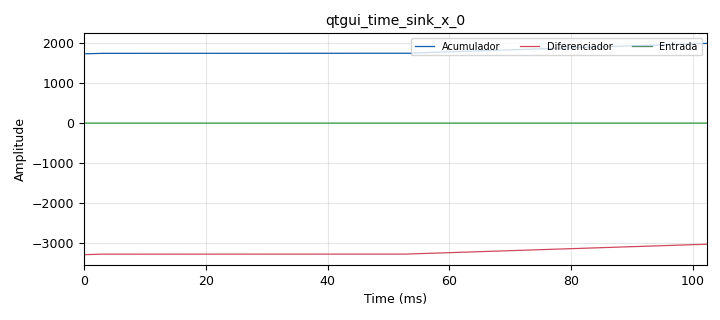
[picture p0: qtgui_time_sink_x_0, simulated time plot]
options:
  parameters:
    generate_options: qt_gui
    id: PRUEBA_I
    output_language: python
    title: Not titled yet
  states: {}

blocks:
- name: samp_rate
  id: variable
  parameters:
    value: '10000'
  states: {}
- name: analog_sig_source_x_0
  id: analog_sig_source_x
  parameters:
    amp: '0.5'
    freq: '10'
    offset: '0'
    phase: '0'
    samp_rate: samp_rate
    type: float
    waveform: analog.GR_SQR_WAVE
  states: {}
- name: epy_block_0
  id: epy_block
  parameters:
    _source_code: |
      """
      Embedded Python Blocks:

      Each time this file is saved, GRC will instantiate the first class it finds
      to get ports and parameters of your block. The arguments to __init__  will
      be the parameters. All of them are required to have default values!
      """

      import numpy as np
      from gnuradio import gr

      class blk (gr. sync_block ):
      	def __init__ ( self ) : # only default arguments here
      		gr. sync_block . __init__ (
      			self ,
      			name ="e_Acum ", # will show up in GRC
      			in_sig =[ np. float32 ],
      			out_sig =[ np. float32 ]
      		)
      	def work (self , input_items , output_items ):
      		x = input_items [0] # Senial de entrada .
      		y0 = output_items [0] # Senial acumulada
      		y0 [:] = np. cumsum (x)
      		#y0 [:] = len(x)
      		return len(y0)
  states: {}
- name: epy_block_1
  id: epy_block
  parameters:
    _source_code: |
      """
      Embedded Python Blocks:

      Each time this file is saved, GRC will instantiate the first class it finds
      to get ports and parameters of your block. The arguments to __init__  will
      be the parameters. All of them are required to have default values!
      """

      import numpy as np
      from gnuradio import gr
      class blk (gr. sync_block ):
      	def __init__ ( self ) : # only default arguments here
      		gr. sync_block . __init__ (
      			self ,
      			name ="e_Diff" , # will show up in GRC
      			in_sig =[ np. float32 ],
      			out_sig =[ np. float32 ]
      		)
      		self . acum_anterior = 0
      			
      	def work (self , input_items , output_items ):
      		x = input_items [0] # Senial de entrada .
      		y0 = output_items [0] # Senial acumulada diferencial
      		N = len (x)
      		diff = np. cumsum (x) - self . acum_anterior
      		self . acum_anterior = diff [N -1]
      		y0 [:] = diff
      		return len(y0)
  states: {}
- name: qtgui_number_sink_0
  id: qtgui_number_sink
  parameters:
    alias: '"Acumulador"'
    graph_type: qtgui.NUM_GRAPH_HORIZ
    label1: '"Acumulador"'
    label2: '"Diferenciador"'
    label3: '"Entrada"'
    max: '10000'
    min: '-10000'
    nconnections: '3'
    type: float
  states: {}
- name: qtgui_time_sink_x_0
  id: qtgui_time_sink_x
  parameters:
    autoscale: 'True'
    color1: yellow
    label1: Acumulador
    label2: Diferenciador
    label3: Entrada
    nconnections: '3'
    size: '1024'
    srate: samp_rate
    type: float
  states: {}

connections:
- [analog_sig_source_x_0, '0', epy_block_0, '0']
- [analog_sig_source_x_0, '0', epy_block_1, '0']
- [analog_sig_source_x_0, '0', qtgui_number_sink_0, '2']
- [analog_sig_source_x_0, '0', qtgui_time_sink_x_0, '2']
- [epy_block_0, '0', qtgui_number_sink_0, '0']
- [epy_block_0, '0', qtgui_time_sink_x_0, '0']
- [epy_block_1, '0', qtgui_number_sink_0, '1']
- [epy_block_1, '0', qtgui_time_sink_x_0, '1']

metadata:
  file_format: 1
  grc_version: 3.9.8.0
